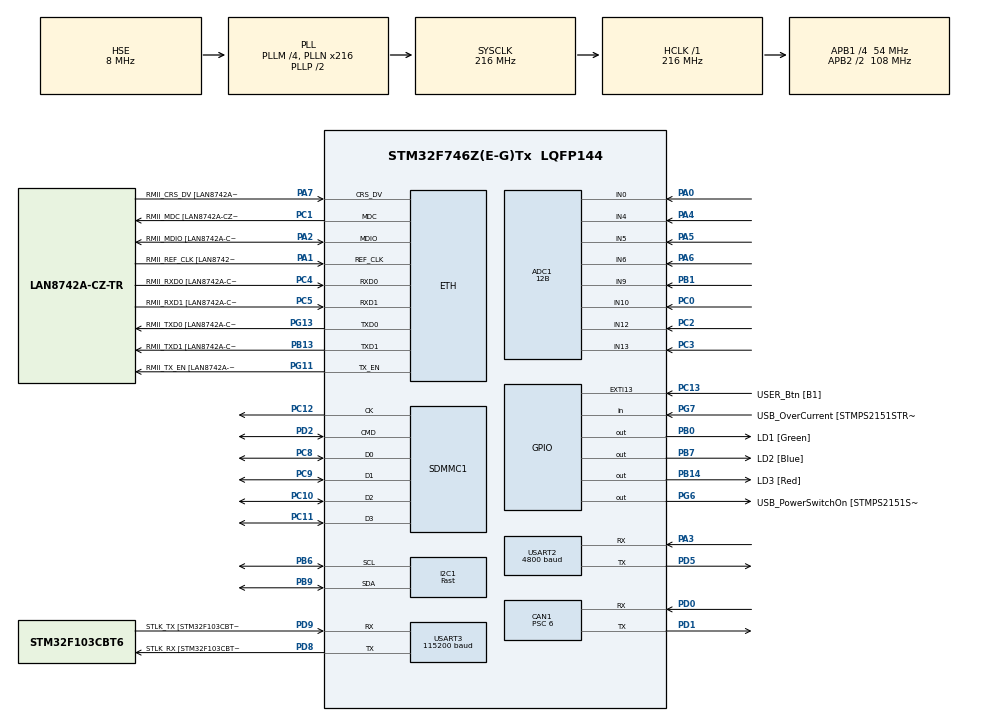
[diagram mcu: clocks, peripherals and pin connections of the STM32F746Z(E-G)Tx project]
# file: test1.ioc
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ADC1.Channel-0\#ChannelRegularConversion=ADC_CHANNEL_0
ADC1.Channel-1\#ChannelRegularConversion=ADC_CHANNEL_0
ADC1.Channel-2\#ChannelRegularConversion=ADC_CHANNEL_0
ADC1.Channel-3\#ChannelRegularConversion=ADC_CHANNEL_0
ADC1.Channel-4\#ChannelRegularConversion=ADC_CHANNEL_0
ADC1.Channel-5\#ChannelRegularConversion=ADC_CHANNEL_0
ADC1.Channel-6\#ChannelRegularConversion=ADC_CHANNEL_0
ADC1.Channel-7\#ChannelRegularConversion=ADC_CHANNEL_0
ADC1.ClockPrescaler=ADC_CLOCK_SYNC_PCLK_DIV4
ADC1.ContinuousConvMode=DISABLE
ADC1.DMAContinuousRequests=DISABLE
ADC1.DataAlign=ADC_DATAALIGN_RIGHT
ADC1.DiscontinuousConvMode=DISABLE
ADC1.EOCSelection=ADC_EOC_SINGLE_CONV
ADC1.EnableAnalogWatchDog=false
ADC1.ExternalTrigConv=ADC_SOFTWARE_START
ADC1.ExternalTrigConvEdge=ADC_EXTERNALTRIGCONVEDGE_NONE
ADC1.InjNumberOfConversion=0
ADC1.NbrOfConversion=8
ADC1.NbrOfConversionFlag=1
ADC1.Rank-0\#ChannelRegularConversion=1
ADC1.Rank-1\#ChannelRegularConversion=2
ADC1.Rank-2\#ChannelRegularConversion=3
ADC1.Rank-3\#ChannelRegularConversion=4
ADC1.Rank-4\#ChannelRegularConversion=5
ADC1.Rank-5\#ChannelRegularConversion=6
ADC1.Rank-6\#ChannelRegularConversion=7
ADC1.Rank-7\#ChannelRegularConversion=8
ADC1.Resolution=ADC_RESOLUTION_12B
ADC1.SamplingTime-0\#ChannelRegularConversion=ADC_SAMPLETIME_3CYCLES
ADC1.SamplingTime-1\#ChannelRegularConversion=ADC_SAMPLETIME_3CYCLES
ADC1.SamplingTime-2\#ChannelRegularConversion=ADC_SAMPLETIME_3CYCLES
ADC1.SamplingTime-3\#ChannelRegularConversion=ADC_SAMPLETIME_3CYCLES
ADC1.SamplingTime-4\#ChannelRegularConversion=ADC_SAMPLETIME_3CYCLES
ADC1.SamplingTime-5\#ChannelRegularConversion=ADC_SAMPLETIME_3CYCLES
ADC1.SamplingTime-6\#ChannelRegularConversion=ADC_SAMPLETIME_3CYCLES
ADC1.SamplingTime-7\#ChannelRegularConversion=ADC_SAMPLETIME_3CYCLES
ADC1.ScanConvMode=ENABLE
ADC1.master=1
CAN1.BS1=CAN_BS1_7TQ
CAN1.BS2=CAN_BS2_1TQ
CAN1.CalculateTimeBit=1000
CAN1.CalculateTimeQuantum=111.11111111111111
CAN1.Prescaler=6
CAN1.SJW=CAN_SJW_1TQ
ETH.MediaInterface=ETH_MEDIA_INTERFACE_RMII
ETH.PHY_Name=LAN8742A_PHY_ADDRESS
ETH.PHY_Value=0
ETH.PhyAddress=0
FREERTOS.Tasks01=defaultTask,0,128,StartDefaultTask,Default,NULL
I2C1.I2C_Speed_Mode=I2C_Fast
I2C1.Speed=400
I2C1.Timing=0x6000030D
LWIP.IP_ADDRESS=192.168.001.040
LWIP.LWIP_DHCP=0
LWIP.NETMASK_ADDRESS=255.255.255.000
LWIP.Version=v2.0.0_Cube
Mcu.Family=STM32F7
Mcu.Name=STM32F746Z(E-G)Tx
Mcu.Package=LQFP144
NVIC.ETH_IRQn=true\:5\:0\:false\:false\:true\:true
NVIC.PriorityGroup=NVIC_PRIORITYGROUP_4
NVIC.TIM8_TRG_COM_TIM14_IRQn=true\:0\:0\:false\:false\:true\:false
NVIC.TimeBase=TIM8_TRG_COM_TIM14_IRQn
NVIC.TimeBaseIP=TIM14
PA0/WKUP.Signal=ADCx_IN0
PA1.GPIO_Label=RMII_REF_CLK [LAN8742A-CZ-TR_REFCLK0]
PA1.Mode=RMII
PA1.Signal=ETH_REF_CLK
PA10.GPIO_Label=USB_ID
PA10.Signal=USB_OTG_FS_ID
PA11.GPIO_Label=USB_DM
PA11.Signal=USB_OTG_FS_DM
PA12.GPIO_Label=USB_DP
PA12.Signal=USB_OTG_FS_DP
PA13.GPIO_Label=TMS
PA13.Mode=Serial_Wire
PA13.Signal=SYS_JTMS-SWDIO
PA14.GPIO_Label=TCK
PA14.Mode=Serial_Wire
PA14.Signal=SYS_JTCK-SWCLK
PA2.GPIO_Label=RMII_MDIO [LAN8742A-CZ-TR_MDIO]
PA2.Mode=RMII
PA2.Signal=ETH_MDIO
PA3.Mode=Asynchronous
PA3.Signal=USART2_RX
PA4.Signal=ADCx_IN4
PA5.Signal=ADCx_IN5
PA6.Signal=ADCx_IN6
PA7.GPIO_Label=RMII_CRS_DV [LAN8742A-CZ-TR_CRS_DV]
PA7.Mode=RMII
PA7.Signal=ETH_CRS_DV
PA8.GPIO_Label=USB_SOF [TP1]
PA8.Signal=USB_OTG_FS_SOF
PA9.GPIO_Label=USB_VBUS
PA9.Signal=USB_OTG_FS_VBUS
PB0.GPIO_Label=LD1 [Green]
PB0.Signal=GPIO_Output
PB1.Signal=ADCx_IN9
PB13.GPIO_Label=RMII_TXD1 [LAN8742A-CZ-TR_TXD1]
PB13.Mode=RMII
PB13.Signal=ETH_TXD1
PB14.GPIO_Label=LD3 [Red]
PB14.Signal=GPIO_Output
PB3.GPIO_Label=SW0
PB3.Signal=SYS_JTDO-SWO
PB6.Mode=I2C
PB6.Signal=I2C1_SCL
PB7.GPIO_Label=LD2 [Blue]
PB7.Signal=GPIO_Output
PB9.Mode=I2C
PB9.Signal=I2C1_SDA
PC0.Signal=ADCx_IN10
PC1.GPIO_Label=RMII_MDC [LAN8742A-CZ-TR_MDC]
PC1.Mode=RMII
PC1.Signal=ETH_MDC
PC10.Mode=SD_4_bits_Wide_bus
PC10.Signal=SDMMC1_D2
PC11.Mode=SD_4_bits_Wide_bus
PC11.Signal=SDMMC1_D3
PC12.Mode=SD_4_bits_Wide_bus
PC12.Signal=SDMMC1_CK
PC13.GPIO_Label=USER_Btn [B1]
PC13.Signal=GPXTI13
PC14/OSC32_IN.Mode=LSE-External-Oscillator
PC14/OSC32_IN.Signal=RCC_OSC32_IN
PC15/OSC32_OUT.Mode=LSE-External-Oscillator
PC15/OSC32_OUT.Signal=RCC_OSC32_OUT
PC2.Signal=ADCx_IN12
PC3.Signal=ADCx_IN13
PC4.GPIO_Label=RMII_RXD0 [LAN8742A-CZ-TR_RXD0]
PC4.Mode=RMII
PC4.Signal=ETH_RXD0
PC5.GPIO_Label=RMII_RXD1 [LAN8742A-CZ-TR_RXD1]
PC5.Mode=RMII
PC5.Signal=ETH_RXD1
PC8.Mode=SD_4_bits_Wide_bus
PC8.Signal=SDMMC1_D0
PC9.Mode=SD_4_bits_Wide_bus
PC9.Signal=SDMMC1_D1
PD0.Mode=Master
PD0.Signal=CAN1_RX
PD1.Mode=Master
PD1.Signal=CAN1_TX
PD2.Mode=SD_4_bits_Wide_bus
PD2.Signal=SDMMC1_CMD
PD5.Mode=Asynchronous
PD5.Signal=USART2_TX
PD8.GPIO_Label=STLK_RX [STM32F103CBT6_PA3]
PD8.Mode=Asynchronous
PD8.Signal=USART3_TX
PD9.GPIO_Label=STLK_TX [STM32F103CBT6_PA2]
PD9.Mode=Asynchronous
PD9.Signal=USART3_RX
PG11.GPIO_Label=RMII_TX_EN [LAN8742A-CZ-TR_TXEN]
PG11.Mode=RMII
PG11.Signal=ETH_TX_EN
PG13.GPIO_Label=RMII_TXD0 [LAN8742A-CZ-TR_TXD0]
PG13.Mode=RMII
PG13.Signal=ETH_TXD0
PG6.GPIO_Label=USB_PowerSwitchOn [STMPS2151STR_EN]
PG6.Signal=GPIO_Output
PG7.GPIO_Label=USB_OverCurrent [STMPS2151STR_FAULT]
PG7.Signal=GPIO_Input
PH0/OSC_IN.GPIO_Label=MCO [STM32F103CBT6_PA8]
PH0/OSC_IN.Mode=HSE-External-Clock-Source
PH0/OSC_IN.Signal=RCC_OSC_IN
PH1/OSC_OUT.Mode=HSE-External-Clock-Source
PH1/OSC_OUT.Signal=RCC_OSC_OUT
ProjectManager.HeapSize=0x200
ProjectManager.StackSize=0x400
ProjectManager.TargetToolchain=SW4STM32
RCC.48MHZClocksFreq_Value=24000000
RCC.AHBFreq_Value=216000000
RCC.APB1CLKDivider=RCC_HCLK_DIV4
RCC.APB1Freq_Value=54000000
RCC.APB1TimFreq_Value=108000000
RCC.APB2CLKDivider=RCC_HCLK_DIV2
RCC.APB2Freq_Value=108000000
RCC.APB2TimFreq_Value=216000000
RCC.CortexFreq_Value=216000000
RCC.HCLKFreq_Value=216000000
RCC.HSE_VALUE=8000000
RCC.HSI_VALUE=16000000
RCC.PLLM=4
RCC.PLLMUL=RCC_PLL_MUL9
RCC.PLLN=216
RCC.PLLQ=9
RCC.PLLSourceVirtual=RCC_PLLSOURCE_HSE
RCC.PRESCALERUSB=RCC_USBCLKSOURCE_PLL_DIV1_5
RCC.SDMMCClockSelection=RCC_SDMMC1CLKSOURCE_CLK48
RCC.SYSCLKFreq_VALUE=216000000
RCC.SYSCLKSource=RCC_SYSCLKSOURCE_PLLCLK
RCC.SYSCLKSourceVirtual=RCC_SYSCLKSOURCE_PLLCLK
RCC.USBFreq_Value=48000000
RCC.VCOOutputFreq_Value=432000000
SH.ADCx_IN0.0=ADC1_IN0,IN0
SH.ADCx_IN10.0=ADC1_IN10,IN10
SH.ADCx_IN12.0=ADC1_IN12,IN12
SH.ADCx_IN13.0=ADC1_IN13,IN13
SH.ADCx_IN4.0=ADC1_IN4,IN4
SH.ADCx_IN5.0=ADC1_IN5,IN5
SH.ADCx_IN6.0=ADC1_IN6,IN6
SH.ADCx_IN9.0=ADC1_IN9,IN9
USART2.BaudRate=4800
USART2.VirtualMode-Asynchronous=VM_ASYNC
USART2.WordLength=WORDLENGTH_8B
USART3.BaudRate=115200
USART3.VirtualMode-Asynchronous=VM_ASYNC
USART3.WordLength=WORDLENGTH_8B
VP_FATFS_VS_SDIO.Mode=SDIO
VP_FREERTOS_VS_ENABLE.Mode=Enabled
VP_LWIP_VS_Enabled.Mode=Enabled
VP_SYS_VS_tim14.Mode=TIM14
board=NUCLEO-F746ZG

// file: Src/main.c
/**
  ******************************************************************************
  * File Name          : main.c
  * Description        : Main program body
  ******************************************************************************
  * This notice applies to any and all portions of this file
  * that are not between comment pairs USER CODE BEGIN and
  * USER CODE END. Other portions of this file, whether
  * inserted by the user or by software development tools
  * are owned by their respective copyright owners.
  *
  * Copyright (c) 2017 STMicroelectronics International N.V.
  * All rights reserved.
  *
  * Redistribution and use in source and binary forms, with or without
  * modification, are permitted, provided that the following conditions are met:
  *
  * 1. Redistribution of source code must retain the above copyright notice,
  *    this list of conditions and the following disclaimer.
  * 2. Redistributions in binary form must reproduce the above copyright notice,
  *    this list of conditions and the following disclaimer in the documentation
  *    and/or other materials provided with the distribution.
  * 3. Neither the name of STMicroelectronics nor the names of other
  *    contributors to this software may be used to endorse or promote products
  *    derived from this software without specific written permission.
  * 4. This software, including modifications and/or derivative works of this
  *    software, must execute solely and exclusively on microcontroller or
  *    microprocessor devices manufactured by or for STMicroelectronics.
  * 5. Redistribution and use of this software other than as permitted under
  *    this license is void and will automatically terminate your rights under
  *    this license.
  *
  * THIS SOFTWARE IS PROVIDED BY STMICROELECTRONICS AND CONTRIBUTORS "AS IS"
  * AND ANY EXPRESS, IMPLIED OR STATUTORY WARRANTIES, INCLUDING, BUT NOT
  * LIMITED TO, THE IMPLIED WARRANTIES OF MERCHANTABILITY, FITNESS FOR A
  * PARTICULAR PURPOSE AND NON-INFRINGEMENT OF THIRD PARTY INTELLECTUAL PROPERTY
  * RIGHTS ARE DISCLAIMED TO THE FULLEST EXTENT PERMITTED BY LAW. IN NO EVENT
  * SHALL STMICROELECTRONICS OR CONTRIBUTORS BE LIABLE FOR ANY DIRECT, INDIRECT,
  * INCIDENTAL, SPECIAL, EXEMPLARY, OR CONSEQUENTIAL DAMAGES (INCLUDING, BUT NOT
  * LIMITED TO, PROCUREMENT OF SUBSTITUTE GOODS OR SERVICES; LOSS OF USE, DATA,
  * OR PROFITS; OR BUSINESS INTERRUPTION) HOWEVER CAUSED AND ON ANY THEORY OF
  * LIABILITY, WHETHER IN CONTRACT, STRICT LIABILITY, OR TORT (INCLUDING
  * NEGLIGENCE OR OTHERWISE) ARISING IN ANY WAY OUT OF THE USE OF THIS SOFTWARE,
  * EVEN IF ADVISED OF THE POSSIBILITY OF SUCH DAMAGE.
  *
  ******************************************************************************
  */
#include "main.h"
#include "stm32f7xx_hal.h"
#include "cmsis_os.h"
#include "adc.h"
#include "can.h"
#include "fatfs.h"
#include "i2c.h"
#include "lwip.h"
#include "sdmmc.h"
#include "usart.h"
#include "gpio.h"

/* USER CODE BEGIN Includes */

#include "inv_mpu.h"
#include "inv_mpu_dmp_motion_driver.h"
//#include "databuffer.h"
#include "retarget.h"
#include "dashboard.h"
#include "telemetry.h"
#include "logging.h"
#include "imu.h"
#include "logging.h"
#include "adcSampling.h"
/* USER CODE END Includes */

/* USER CODE BEGIN PV */
/* Private variables ---------------------------------------------------------*/

/* USER CODE END PV */

void SystemClock_Config(void);
void MX_FREERTOS_Init(void);

/* USER CODE BEGIN PFP */
/* Private function prototypes -----------------------------------------------*/

void blinkThread(void const *argument);

/* USER CODE END PFP */

int main(void)
{

  /* MCU Configuration----------------------------------------------------------*/

  /* Reset of all peripherals, Initializes the Flash interface and the Systick. */
  HAL_Init();

  /* Configure the system clock */
  SystemClock_Config();

  /* Initialize all configured peripherals */
  MX_GPIO_Init();
  MX_USART3_UART_Init();
  MX_CAN1_Init();
  MX_USART2_UART_Init();
  MX_SDMMC1_SD_Init();
  MX_I2C1_Init();
  MX_ADC1_Init();

  /* USER CODE BEGIN 2 */
  RetargetInit(&huart3); //per usare printf
  printf("START\n");

  //imuInit();

  //setupBuffers();
  //testSDCard();

	osThreadDef(adc, samplingThread, osPriorityNormal, 0, 1000);
	osThreadCreate(osThread(adc), NULL);

  /*
  osThreadDef(blink, blinkThread, osPriorityNormal, 0, 100);
  osThreadCreate(osThread(blink), NULL);

  osThreadDef(dashboard, dashboardThread, osPriorityNormal, 0, 300);
  osThreadCreate(osThread(dashboard), NULL);

  osThreadDef(tele, telemetryThread, osPriorityNormal, 0, 500);
  osThreadCreate(osThread(tele), NULL);
	*/

  /* USER CODE END 2 */

  /* Call init function for freertos objects (in freertos.c) */
  MX_FREERTOS_Init();

  /* Start scheduler */
  osKernelStart();

  /* We should never get here as control is now taken by the scheduler */

  /* Infinite loop */
  while (1)
  {

  }

}

/** System Clock Configuration
*/
void SystemClock_Config(void)
{

  RCC_OscInitTypeDef RCC_OscInitStruct;
  RCC_ClkInitTypeDef RCC_ClkInitStruct;
  RCC_PeriphCLKInitTypeDef PeriphClkInitStruct;

    /**Configure the main internal regulator output voltage
    */
  __HAL_RCC_PWR_CLK_ENABLE();

  __HAL_PWR_VOLTAGESCALING_CONFIG(PWR_REGULATOR_VOLTAGE_SCALE1);

    /**Initializes the CPU, AHB and APB busses clocks
    */
  RCC_OscInitStruct.OscillatorType = RCC_OSCILLATORTYPE_HSE;
  RCC_OscInitStruct.HSEState = RCC_HSE_BYPASS;
  RCC_OscInitStruct.PLL.PLLState = RCC_PLL_ON;
  RCC_OscInitStruct.PLL.PLLSource = RCC_PLLSOURCE_HSE;
  RCC_OscInitStruct.PLL.PLLM = 4;
  RCC_OscInitStruct.PLL.PLLN = 216;
  RCC_OscInitStruct.PLL.PLLP = RCC_PLLP_DIV2;
  RCC_OscInitStruct.PLL.PLLQ = 9;
  if (HAL_RCC_OscConfig(&RCC_OscInitStruct) != HAL_OK)
  {
    _Error_Handler(__FILE__, __LINE__);
  }

    /**Activate the Over-Drive mode
    */
  if (HAL_PWREx_EnableOverDrive() != HAL_OK)
  {
    _Error_Handler(__FILE__, __LINE__);
  }

    /**Initializes the CPU, AHB and APB busses clocks
    */
  RCC_ClkInitStruct.ClockType = RCC_CLOCKTYPE_HCLK|RCC_CLOCKTYPE_SYSCLK
                              |RCC_CLOCKTYPE_PCLK1|RCC_CLOCKTYPE_PCLK2;
  RCC_ClkInitStruct.SYSCLKSource = RCC_SYSCLKSOURCE_PLLCLK;
  RCC_ClkInitStruct.AHBCLKDivider = RCC_SYSCLK_DIV1;
  RCC_ClkInitStruct.APB1CLKDivider = RCC_HCLK_DIV4;
  RCC_ClkInitStruct.APB2CLKDivider = RCC_HCLK_DIV2;

  if (HAL_RCC_ClockConfig(&RCC_ClkInitStruct, FLASH_LATENCY_7) != HAL_OK)
  {
    _Error_Handler(__FILE__, __LINE__);
  }

  PeriphClkInitStruct.PeriphClockSelection = RCC_PERIPHCLK_USART2|RCC_PERIPHCLK_USART3
                              |RCC_PERIPHCLK_I2C1|RCC_PERIPHCLK_SDMMC1
                              |RCC_PERIPHCLK_CLK48;
  PeriphClkInitStruct.Usart2ClockSelection = RCC_USART2CLKSOURCE_PCLK1;
  PeriphClkInitStruct.Usart3ClockSelection = RCC_USART3CLKSOURCE_PCLK1;
  PeriphClkInitStruct.I2c1ClockSelection = RCC_I2C1CLKSOURCE_PCLK1;
  PeriphClkInitStruct.Clk48ClockSelection = RCC_CLK48SOURCE_PLL;
  PeriphClkInitStruct.Sdmmc1ClockSelection = RCC_SDMMC1CLKSOURCE_CLK48;
  if (HAL_RCCEx_PeriphCLKConfig(&PeriphClkInitStruct) != HAL_OK)
  {
    _Error_Handler(__FILE__, __LINE__);
  }

    /**Configure the Systick interrupt time
    */
  HAL_SYSTICK_Config(HAL_RCC_GetHCLKFreq()/1000);

    /**Configure the Systick
    */
  HAL_SYSTICK_CLKSourceConfig(SYSTICK_CLKSOURCE_HCLK);

  /* SysTick_IRQn interrupt configuration */
  HAL_NVIC_SetPriority(SysTick_IRQn, 15, 0);
}

/* USER CODE BEGIN 4 */

void blinkThread(void const *argument){
	uint16_t delay = 500; /* Default delay */
	while(1) {
		HAL_GPIO_TogglePin(LD2_GPIO_Port, LD2_Pin);
		osDelay(delay);
  }
  osThreadTerminate(NULL);
}

/* USER CODE END 4 */

void HAL_TIM_PeriodElapsedCallback(TIM_HandleTypeDef *htim)
{
  if (htim->Instance == TIM14) {
    HAL_IncTick();
  }
}

void _Error_Handler(char * file, int line)
{
  /* USER CODE BEGIN Error_Handler_Debug */
  /* User can add his own implementation to report the HAL error return state */
	printf("Error Handler launched\n");
  while(1)
  {
  }
  /* USER CODE END Error_Handler_Debug */
}

/************************ (C) COPYRIGHT STMicroelectronics *****END OF FILE****/

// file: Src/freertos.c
/**
  ******************************************************************************
  * File Name          : freertos.c
  * Description        : Code for freertos applications
  ******************************************************************************
  * This notice applies to any and all portions of this file
  * that are not between comment pairs USER CODE BEGIN and
  * USER CODE END. Other portions of this file, whether
  * inserted by the user or by software development tools
  * are owned by their respective copyright owners.
  *
  * Copyright (c) 2017 STMicroelectronics International N.V.
  * All rights reserved.
  *
  * Redistribution and use in source and binary forms, with or without
  * modification, are permitted, provided that the following conditions are met:
  *
  * 1. Redistribution of source code must retain the above copyright notice,
  *    this list of conditions and the following disclaimer.
  * 2. Redistributions in binary form must reproduce the above copyright notice,
  *    this list of conditions and the following disclaimer in the documentation
  *    and/or other materials provided with the distribution.
  * 3. Neither the name of STMicroelectronics nor the names of other
  *    contributors to this software may be used to endorse or promote products
  *    derived from this software without specific written permission.
  * 4. This software, including modifications and/or derivative works of this
  *    software, must execute solely and exclusively on microcontroller or
  *    microprocessor devices manufactured by or for STMicroelectronics.
  * 5. Redistribution and use of this software other than as permitted under
  *    this license is void and will automatically terminate your rights under
  *    this license.
  *
  * THIS SOFTWARE IS PROVIDED BY STMICROELECTRONICS AND CONTRIBUTORS "AS IS"
  * AND ANY EXPRESS, IMPLIED OR STATUTORY WARRANTIES, INCLUDING, BUT NOT
  * LIMITED TO, THE IMPLIED WARRANTIES OF MERCHANTABILITY, FITNESS FOR A
  * PARTICULAR PURPOSE AND NON-INFRINGEMENT OF THIRD PARTY INTELLECTUAL PROPERTY
  * RIGHTS ARE DISCLAIMED TO THE FULLEST EXTENT PERMITTED BY LAW. IN NO EVENT
  * SHALL STMICROELECTRONICS OR CONTRIBUTORS BE LIABLE FOR ANY DIRECT, INDIRECT,
  * INCIDENTAL, SPECIAL, EXEMPLARY, OR CONSEQUENTIAL DAMAGES (INCLUDING, BUT NOT
  * LIMITED TO, PROCUREMENT OF SUBSTITUTE GOODS OR SERVICES; LOSS OF USE, DATA,
  * OR PROFITS; OR BUSINESS INTERRUPTION) HOWEVER CAUSED AND ON ANY THEORY OF
  * LIABILITY, WHETHER IN CONTRACT, STRICT LIABILITY, OR TORT (INCLUDING
  * NEGLIGENCE OR OTHERWISE) ARISING IN ANY WAY OUT OF THE USE OF THIS SOFTWARE,
  * EVEN IF ADVISED OF THE POSSIBILITY OF SUCH DAMAGE.
  *
  ******************************************************************************
  */

#include "FreeRTOS.h"
#include "task.h"
#include "cmsis_os.h"

osThreadId defaultTaskHandle;

void StartDefaultTask(void const * argument);

extern void MX_FATFS_Init(void);
extern void MX_LWIP_Init(void);
void MX_FREERTOS_Init(void); /* (MISRA C 2004 rule 8.1) */

/* Hook prototypes */

/* Init FreeRTOS */

void MX_FREERTOS_Init(void) {

  /* Create the thread(s) */
  /* definition and creation of defaultTask */
  osThreadDef(defaultTask, StartDefaultTask, osPriorityNormal, 0, 128);
  defaultTaskHandle = osThreadCreate(osThread(defaultTask), NULL);

}

/* StartDefaultTask function */
void StartDefaultTask(void const * argument)
{
  /* init code for FATFS */
  MX_FATFS_Init();

  /* init code for LWIP */
  MX_LWIP_Init();

  for(;;)
  {
    osDelay(1);
  }
}

/************************ (C) COPYRIGHT STMicroelectronics *****END OF FILE****/
